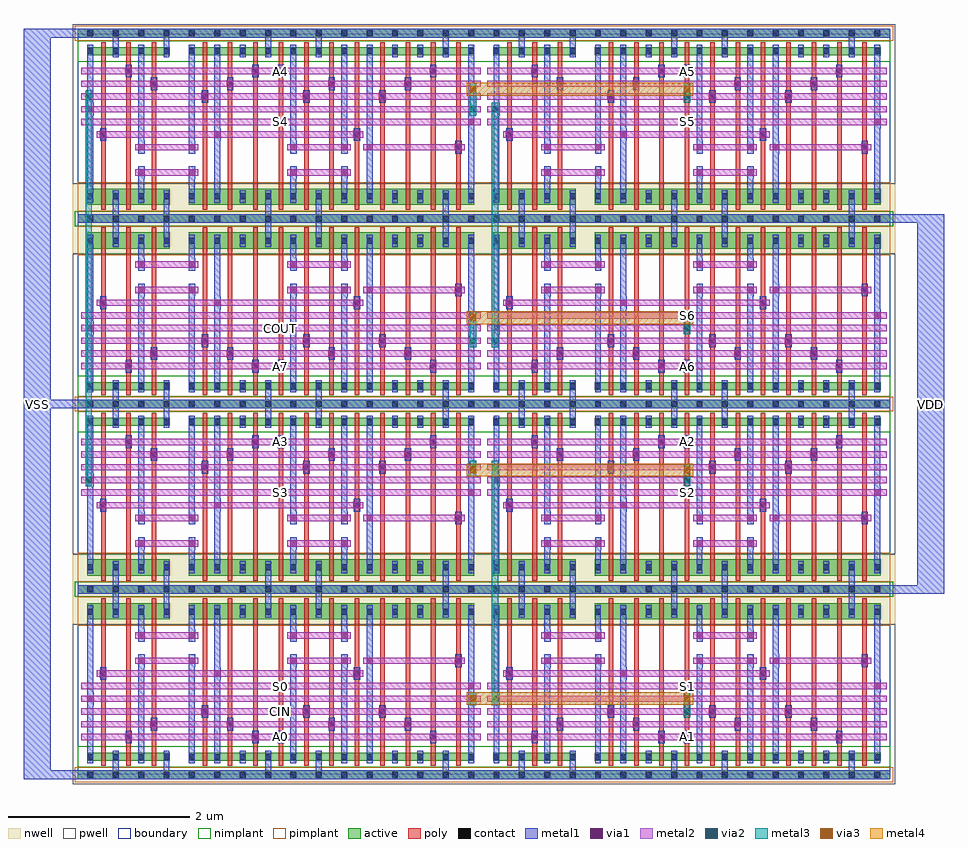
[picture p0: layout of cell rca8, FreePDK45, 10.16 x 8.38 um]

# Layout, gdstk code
import gdstk
lib = gdstk.Library(unit=1e-6, precision=5e-10)
def R(c, l, rs):  # rectangles x0, y0, x1, y1
    for r in rs: c.add(gdstk.rectangle(r[:2], r[2:], *l))
def A(c, l, x, y, w, h, nx, ny, dx, dy):  # array of equal rectangles
    R(c, l, [(x+i*dx, y+j*dy, x+i*dx+w, y+j*dy+h) for i in range(nx) for j in range(ny)])
active = (1, 0)
pwell = (2, 0)
nwell = (3, 0)
nimplant = (4, 0)
pimplant = (5, 0)
poly = (9, 0)
contact = (10, 0)
metal1 = (11, 0)
via1 = (12, 0)
metal2 = (13, 0)
via2 = (14, 0)
metal3 = (15, 0)
via3 = (16, 0)
metal4 = (17, 0)
boundary = (235, 0)

c_fa = lib.new_cell('fa')
R(c_fa, active, [(0,-0.05,4.48,0.045), (0.1,0.15,1.015,0.24), (1.22,0.15,4.375,0.24), (0.1,1.71,1.015,1.89), (1.22,1.71,4.375,1.89), (0,1.995,4.48,2.09)])
R(c_fa, pwell, [(-0.055,-0.105,4.535,1.655)])
R(c_fa, nwell, [(-0.055,1.655,4.535,2.145)])
R(c_fa, nimplant, [(0,0.08,4.48,0.31), (-0.035,1.96,4.515,2.125)])
R(c_fa, pimplant, [(-0.035,-0.085,4.515,0.08), (0,1.64,4.48,1.96)])
A(c_fa, poly, 0.255, 0.095, 0.05, 0.2, 3, 1, 0.28, 0)
A(c_fa, poly, 1.375, 0.095, 0.05, 0.2, 11, 1, 0.28, 0)
A(c_fa, poly, 0.255, 0.295, 0.05, 1.36, 3, 1, 0.28, 0)
A(c_fa, poly, 1.375, 0.295, 0.05, 1.36, 11, 1, 0.28, 0)
A(c_fa, poly, 0.255, 1.655, 0.05, 0.29, 3, 1, 0.28, 0)
A(c_fa, poly, 1.375, 1.655, 0.05, 0.29, 11, 1, 0.28, 0)
R(c_fa, poly, [(0.52,0.375,0.595,0.45), (1.92,0.375,1.995,0.45), (2.2,0.375,2.275,0.45), (3.88,0.375,3.955,0.45), (0.8,0.515,0.875,0.59), (1.64,0.515,1.715,0.59), (2.76,0.515,2.835,0.59), (3.6,0.515,3.675,0.59), (1.36,0.655,1.435,0.73), (2.48,0.655,2.555,0.73), (3.32,0.655,3.395,0.73), (0.24,1.075,0.315,1.15), (3.04,1.075,3.115,1.15), (4.16,1.215,4.235,1.29)])
A(c_fa, contact, 0.105, -0.035, 0.065, 0.065, 16, 2, 0.28, 0.195)
A(c_fa, contact, 0.105, 1.765, 0.065, 0.065, 16, 2, 0.28, 0.245)
R(c_fa, contact, [(0.525,0.38,0.59,0.445), (1.925,0.38,1.99,0.445), (2.205,0.38,2.27,0.445), (3.885,0.38,3.95,0.445), (0.805,0.52,0.87,0.585), (1.645,0.52,1.71,0.585), (2.765,0.52,2.83,0.585), (3.605,0.52,3.67,0.585), (1.365,0.66,1.43,0.725), (2.485,0.66,2.55,0.725), (3.325,0.66,3.39,0.725), (0.245,1.08,0.31,1.145), (3.045,1.08,3.11,1.145), (4.165,1.22,4.23,1.285)])
A(c_fa, metal1, 0.105, 0.125, 0.065, 0.135, 16, 2, 0.28, 1.605)
R(c_fa, metal1, [(0,-0.05,4.48,0.045), (0.385,0,0.45,0.125), (0.945,0,1.01,0.125), (2.065,0,2.13,0.125), (2.625,0,2.69,0.125), (4.025,0,4.09,0.125), (0.105,0.26,0.17,0.835), (0.665,0.26,0.73,1.255), (1.225,0.26,1.29,1.255), (1.505,0.26,1.57,1.115), (2.345,0.26,2.41,1.255), (2.905,0.26,2.97,1.255), (3.185,0.26,3.25,1.255), (4.305,0.26,4.37,0.975), (0.525,0.345,0.595,0.485), (1.925,0.345,1.995,0.485), (2.205,0.345,2.275,0.485), (3.885,0.345,3.955,0.485), (0.805,0.485,0.875,0.625), (1.645,0.485,1.715,0.625), (2.765,0.485,2.835,0.625), (3.605,0.485,3.675,0.625), (1.365,0.625,1.435,0.765), (2.485,0.625,2.555,0.765), (3.325,0.625,3.395,0.765), (0.105,0.765,0.175,0.905), (0.105,0.765,0.175,0.905), (0.105,0.835,0.17,1.73), (4.305,0.905,4.375,1.045), (4.305,0.905,4.375,1.045), (4.305,0.975,4.37,1.73), (0.245,1.045,0.315,1.185), (1.505,1.045,1.575,1.185), (1.505,1.045,1.575,1.185), (3.045,1.045,3.115,1.185), (1.505,1.115,1.57,1.73), (0.665,1.185,0.735,1.325), (1.225,1.185,1.295,1.325), (2.345,1.185,2.415,1.325), (2.905,1.185,2.975,1.325), (3.185,1.185,3.255,1.325), (3.185,1.185,3.255,1.325), (4.165,1.185,4.235,1.325), (3.185,1.255,3.25,1.73), (0.665,1.465,0.735,1.605), (1.225,1.465,1.295,1.605), (2.345,1.465,2.415,1.605), (2.905,1.465,2.975,1.605), (0.665,1.535,0.73,1.73), (1.225,1.535,1.29,1.73), (2.345,1.535,2.41,1.73), (2.905,1.535,2.97,1.73), (0.385,1.865,0.45,2.045), (0.945,1.865,1.01,2.045), (2.065,1.865,2.13,2.045), (2.625,1.865,2.69,2.045), (4.025,1.865,4.09,2.045), (0,1.995,4.48,2.09)])
R(c_fa, via1, [(0.525,0.38,0.595,0.45), (1.925,0.38,1.995,0.45), (2.205,0.38,2.275,0.45), (3.885,0.38,3.955,0.45), (0.805,0.52,0.875,0.59), (1.645,0.52,1.715,0.59), (2.765,0.52,2.835,0.59), (3.605,0.52,3.675,0.59), (1.365,0.66,1.435,0.73), (2.485,0.66,2.555,0.73), (3.325,0.66,3.395,0.73), (0.105,0.8,0.175,0.87), (0.105,0.8,0.175,0.87), (4.305,0.94,4.375,1.01), (4.305,0.94,4.375,1.01), (0.245,1.08,0.315,1.15), (1.505,1.08,1.575,1.15), (1.505,1.08,1.575,1.15), (3.045,1.08,3.115,1.15), (0.665,1.22,0.735,1.29), (1.225,1.22,1.295,1.29), (2.345,1.22,2.415,1.29), (2.905,1.22,2.975,1.29), (3.185,1.22,3.255,1.29), (3.185,1.22,3.255,1.29), (4.165,1.22,4.235,1.29), (0.665,1.5,0.735,1.57), (1.225,1.5,1.295,1.57), (2.345,1.5,2.415,1.57), (2.905,1.5,2.975,1.57)])
A(c_fa, metal2, 0.035, 0.38, 4.41, 0.07, 1, 5, 0, 0.14)
R(c_fa, metal2, [(0.49,0.38,0.63,0.45), (1.89,0.38,2.03,0.45), (2.17,0.38,2.31,0.45), (3.85,0.38,3.99,0.45), (0.77,0.52,0.91,0.59), (1.61,0.52,1.75,0.59), (2.73,0.52,2.87,0.59), (3.57,0.52,3.71,0.59), (1.33,0.66,1.47,0.73), (2.45,0.66,2.59,0.73), (3.29,0.66,3.43,0.73), (0.07,0.8,0.21,0.87), (0.07,0.8,0.21,0.87), (4.27,0.94,4.41,1.01), (4.27,0.94,4.41,1.01), (0.21,1.08,0.35,1.15), (0.28,1.08,3.08,1.15), (1.47,1.08,1.61,1.15), (1.47,1.08,1.61,1.15), (3.01,1.08,3.15,1.15), (0.63,1.22,0.77,1.29), (0.7,1.22,1.26,1.29), (1.19,1.22,1.33,1.29), (2.31,1.22,2.45,1.29), (2.38,1.22,2.94,1.29), (2.87,1.22,3.01,1.29), (3.15,1.22,3.29,1.29), (3.15,1.22,3.29,1.29), (3.22,1.22,4.2,1.29), (4.13,1.22,4.27,1.29), (0.63,1.5,0.77,1.57), (0.7,1.5,1.26,1.57), (1.19,1.5,1.33,1.57), (2.31,1.5,2.45,1.57), (2.38,1.5,2.94,1.57), (2.87,1.5,3.01,1.57)])
R(c_fa, boundary, [(0,0,4.48,2.045)])
c_fa.add(gdstk.Label('VSS', (2.24,-0.003), layer=11, texttype=1))
c_fa.add(gdstk.Label('VDD', (2.24,2.042), layer=11, texttype=1))
c_fa.add(gdstk.Label('COUT', (2.24,0.835), layer=13, texttype=1))
c_fa.add(gdstk.Label('SUM', (2.24,0.975), layer=13, texttype=1))
c_fa.add(gdstk.Label('A', (2.24,0.415), layer=13, texttype=1))
c_fa.add(gdstk.Label('B', (2.24,0.555), layer=13, texttype=1))
c_fa.add(gdstk.Label('CIN', (2.24,0.695), layer=13, texttype=1))

rca8 = lib.new_cell('rca8')
A(rca8, metal1, -0.6, -0.05, 0.6, 0.095, 1, 3, 0, 4.09)
R(rca8, metal1, [(-0.6,-0.05,-0.3,8.225), (8.96,1.995,9.56,2.09), (9.26,1.995,9.56,6.18), (8.96,6.085,9.56,6.18)])
R(rca8, metal2, [(6.65,0.66,6.79,0.73), (4.29,0.8,4.43,0.87), (4.53,0.8,4.67,0.87), (0.05,3.215,0.19,3.285), (6.65,3.215,6.79,3.285), (4.29,3.355,4.43,3.425), (4.53,3.355,4.67,3.425), (4.29,4.75,4.43,4.82), (4.53,4.75,4.67,4.82), (6.65,4.89,6.79,4.96), (4.29,7.305,4.43,7.375), (4.53,7.305,4.67,7.375), (0.05,7.445,0.19,7.515), (6.65,7.445,6.79,7.515)])
R(rca8, via2, [(6.685,0.66,6.755,0.73), (4.325,0.8,4.395,0.87), (4.565,0.8,4.635,0.87), (0.085,3.215,0.155,3.285), (6.685,3.215,6.755,3.285), (4.325,3.355,4.395,3.425), (4.565,3.355,4.635,3.425), (4.325,4.75,4.395,4.82), (4.565,4.75,4.635,4.82), (6.685,4.89,6.755,4.96), (4.325,7.305,4.395,7.375), (4.565,7.305,4.635,7.375), (0.085,7.445,0.155,7.515), (6.685,7.445,6.755,7.515)])
R(rca8, metal3, [(6.685,0.625,6.755,0.765), (6.685,0.695,6.755,0.84), (4.325,0.765,4.395,0.905), (4.565,0.765,4.635,0.905), (4.325,0.77,4.395,0.91), (6.685,0.77,6.755,0.91), (4.325,0.835,4.395,0.84), (4.565,0.835,4.635,3.39), (0.085,3.18,0.155,3.32), (6.685,3.18,6.755,3.32), (0.085,3.25,0.155,7.48), (6.685,3.25,6.755,3.36), (4.325,3.29,4.395,3.43), (6.685,3.29,6.755,3.43), (4.325,3.32,4.395,3.46), (4.565,3.32,4.635,3.46), (4.325,3.36,4.395,3.39), (4.325,4.715,4.395,4.855), (4.565,4.715,4.635,4.855), (4.325,4.785,4.395,5.04), (4.565,4.785,4.635,7.34), (6.685,4.855,6.755,4.995), (6.685,4.925,6.755,5.04), (4.325,4.97,4.395,5.11), (6.685,4.97,6.755,5.11), (4.325,7.27,4.395,7.41), (4.565,7.27,4.635,7.41), (4.325,7.34,4.395,7.56), (0.085,7.41,0.155,7.55), (6.685,7.41,6.755,7.55), (6.685,7.48,6.755,7.56), (4.325,7.49,4.395,7.63), (6.685,7.49,6.755,7.63)])
R(rca8, via3, [(4.325,0.805,4.395,0.875), (6.685,0.805,6.755,0.875), (4.325,3.325,4.395,3.395), (6.685,3.325,6.755,3.395), (4.325,5.005,4.395,5.075), (6.685,5.005,6.755,5.075), (4.325,7.525,4.395,7.595), (6.685,7.525,6.755,7.595)])
R(rca8, metal4, [(4.29,0.77,4.43,0.91), (4.36,0.77,6.72,0.91), (6.65,0.77,6.79,0.91), (4.29,3.29,4.43,3.43), (4.36,3.29,6.72,3.43), (6.65,3.29,6.79,3.43), (4.29,4.97,4.43,5.11), (4.36,4.97,6.72,5.11), (6.65,4.97,6.79,5.11), (4.29,7.49,4.43,7.63), (4.36,7.49,6.72,7.63), (6.65,7.49,6.79,7.63)])
rca8.add(gdstk.Reference(c_fa, (0,0)))
rca8.add(gdstk.Reference(c_fa, (4.48,0)))
rca8.add(gdstk.Reference(c_fa, (0,4.085), x_reflection=True))
rca8.add(gdstk.Reference(c_fa, (4.48,4.085), x_reflection=True))
rca8.add(gdstk.Reference(c_fa, (0,4.09)))
rca8.add(gdstk.Reference(c_fa, (4.48,4.09)))
rca8.add(gdstk.Reference(c_fa, (0,8.175), x_reflection=True))
rca8.add(gdstk.Reference(c_fa, (4.48,8.175), x_reflection=True))
rca8.add(gdstk.Label('VSS', (-0.45,4.087), layer=11, texttype=1))
rca8.add(gdstk.Label('VDD', (9.41,4.087), layer=11, texttype=1))
rca8.add(gdstk.Label('A0', (2.24,0.415), layer=13, texttype=1))
rca8.add(gdstk.Label('A1', (6.72,0.415), layer=13, texttype=1))
rca8.add(gdstk.Label('A2', (6.72,3.67), layer=13, texttype=1))
rca8.add(gdstk.Label('A3', (2.24,3.67), layer=13, texttype=1))
rca8.add(gdstk.Label('A4', (2.24,7.76), layer=13, texttype=1))
rca8.add(gdstk.Label('A5', (6.72,7.76), layer=13, texttype=1))
rca8.add(gdstk.Label('A6', (6.72,4.505), layer=13, texttype=1))
rca8.add(gdstk.Label('A7', (2.24,4.505), layer=13, texttype=1))
rca8.add(gdstk.Label('B0', (2.24,0.555), layer=13, texttype=1))
rca8.add(gdstk.Label('B1', (6.72,0.555), layer=13, texttype=1))
rca8.add(gdstk.Label('B2', (6.72,3.53), layer=13, texttype=1))
rca8.add(gdstk.Label('B3', (2.24,3.53), layer=13, texttype=1))
rca8.add(gdstk.Label('B4', (2.24,7.62), layer=13, texttype=1))
rca8.add(gdstk.Label('B5', (6.72,7.62), layer=13, texttype=1))
rca8.add(gdstk.Label('B6', (6.72,4.645), layer=13, texttype=1))
rca8.add(gdstk.Label('B7', (2.24,4.645), layer=13, texttype=1))
rca8.add(gdstk.Label('CIN', (2.24,0.695), layer=13, texttype=1))
rca8.add(gdstk.Label('COUT', (2.24,4.925), layer=13, texttype=1))
rca8.add(gdstk.Label('S0', (2.24,0.975), layer=13, texttype=1))
rca8.add(gdstk.Label('S1', (6.72,0.975), layer=13, texttype=1))
rca8.add(gdstk.Label('S2', (6.72,3.11), layer=13, texttype=1))
rca8.add(gdstk.Label('S3', (2.24,3.11), layer=13, texttype=1))
rca8.add(gdstk.Label('S4', (2.24,7.2), layer=13, texttype=1))
rca8.add(gdstk.Label('S5', (6.72,7.2), layer=13, texttype=1))
rca8.add(gdstk.Label('S6', (6.72,5.065), layer=13, texttype=1))
rca8.add(gdstk.Label('S7', (2.24,5.065), layer=13, texttype=1))

lib.write_gds('rca8.gds')
